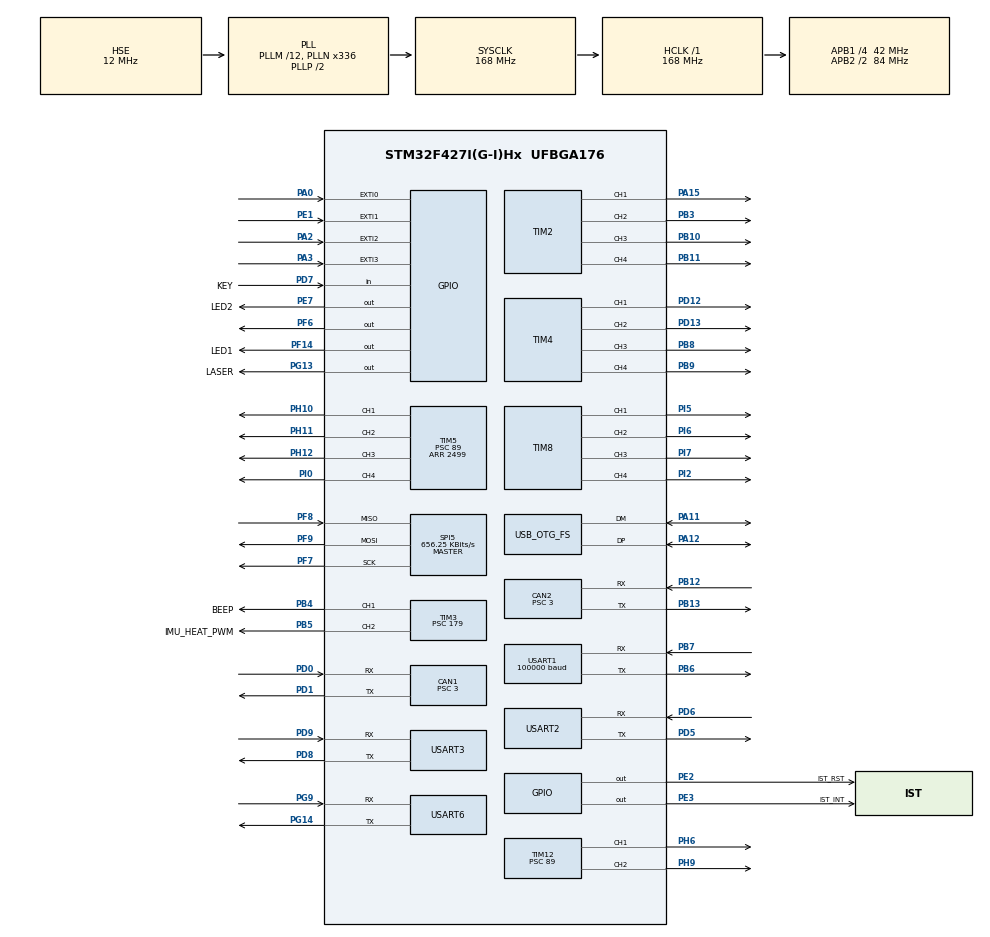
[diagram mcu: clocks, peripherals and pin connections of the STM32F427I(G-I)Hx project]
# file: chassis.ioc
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CAN1.ABOM=ENABLE
CAN1.BS1=CAN_BS1_8TQ
CAN1.BS2=CAN_BS2_5TQ
CAN1.CalculateTimeBit=1000
CAN1.CalculateTimeQuantum=71.42857142857143
CAN1.Prescaler=3
CAN1.SJW=CAN_SJW_1TQ
CAN2.ABOM=ENABLE
CAN2.BS1=CAN_BS1_8TQ
CAN2.BS2=CAN_BS2_5TQ
CAN2.CalculateTimeBit=1000
CAN2.CalculateTimeQuantum=71.42857142857143
CAN2.Prescaler=3
CAN2.SJW=CAN_SJW_4TQ
Dma.Request0=USART2_RX
Dma.Request1=USART3_RX
Dma.Request2=USART6_RX
Dma.Request3=USART1_RX
Dma.USART1_RX.3.Direction=DMA_PERIPH_TO_MEMORY
Dma.USART1_RX.3.FIFOMode=DMA_FIFOMODE_DISABLE
Dma.USART1_RX.3.Instance=DMA2_Stream2
Dma.USART1_RX.3.MemDataAlignment=DMA_MDATAALIGN_BYTE
Dma.USART1_RX.3.MemInc=DMA_MINC_ENABLE
Dma.USART1_RX.3.Mode=DMA_NORMAL
Dma.USART1_RX.3.PeriphDataAlignment=DMA_PDATAALIGN_BYTE
Dma.USART1_RX.3.PeriphInc=DMA_PINC_DISABLE
Dma.USART1_RX.3.Priority=DMA_PRIORITY_LOW
Dma.USART2_RX.0.Direction=DMA_PERIPH_TO_MEMORY
Dma.USART2_RX.0.FIFOMode=DMA_FIFOMODE_DISABLE
Dma.USART2_RX.0.Instance=DMA1_Stream5
Dma.USART2_RX.0.MemDataAlignment=DMA_MDATAALIGN_BYTE
Dma.USART2_RX.0.MemInc=DMA_MINC_ENABLE
Dma.USART2_RX.0.Mode=DMA_NORMAL
Dma.USART2_RX.0.PeriphDataAlignment=DMA_PDATAALIGN_BYTE
Dma.USART2_RX.0.PeriphInc=DMA_PINC_DISABLE
Dma.USART2_RX.0.Priority=DMA_PRIORITY_LOW
Dma.USART3_RX.1.Direction=DMA_PERIPH_TO_MEMORY
Dma.USART3_RX.1.FIFOMode=DMA_FIFOMODE_DISABLE
Dma.USART3_RX.1.Instance=DMA1_Stream1
Dma.USART3_RX.1.MemDataAlignment=DMA_MDATAALIGN_BYTE
Dma.USART3_RX.1.MemInc=DMA_MINC_ENABLE
Dma.USART3_RX.1.Mode=DMA_NORMAL
Dma.USART3_RX.1.PeriphDataAlignment=DMA_PDATAALIGN_BYTE
Dma.USART3_RX.1.PeriphInc=DMA_PINC_DISABLE
Dma.USART3_RX.1.Priority=DMA_PRIORITY_LOW
Dma.USART6_RX.2.Direction=DMA_PERIPH_TO_MEMORY
Dma.USART6_RX.2.FIFOMode=DMA_FIFOMODE_DISABLE
Dma.USART6_RX.2.Instance=DMA2_Stream1
Dma.USART6_RX.2.MemDataAlignment=DMA_MDATAALIGN_BYTE
Dma.USART6_RX.2.MemInc=DMA_MINC_ENABLE
Dma.USART6_RX.2.Mode=DMA_NORMAL
Dma.USART6_RX.2.PeriphDataAlignment=DMA_PDATAALIGN_BYTE
Dma.USART6_RX.2.PeriphInc=DMA_PINC_DISABLE
Dma.USART6_RX.2.Priority=DMA_PRIORITY_LOW
FREERTOS.INCLUDE_vTaskDelayUntil=1
FREERTOS.Tasks01=defaultTask,0,128,StartDefaultTask,Default
FREERTOS.configTOTAL_HEAP_SIZE=153600
Mcu.Family=STM32F4
Mcu.Name=STM32F427I(G-I)Hx
Mcu.Package=UFBGA176
NVIC.CAN1_RX0_IRQn=true\:6\:0\:true\:false\:true\:true
NVIC.CAN1_TX_IRQn=true\:5\:0\:true\:false\:true\:true
NVIC.CAN2_RX1_IRQn=true\:6\:0\:true\:false\:true\:true
NVIC.CAN2_TX_IRQn=true\:5\:0\:false\:false\:true\:true
NVIC.DMA1_Stream1_IRQn=true\:5\:0\:false\:false\:true\:true
NVIC.DMA1_Stream5_IRQn=true\:5\:0\:false\:false\:true\:true
NVIC.DMA2_Stream1_IRQn=true\:5\:0\:false\:false\:true\:true
NVIC.DMA2_Stream2_IRQn=true\:5\:0\:false\:false\:true\:true
NVIC.OTG_FS_IRQn=true\:5\:0\:false\:false\:true\:true
NVIC.PriorityGroup=NVIC_PRIORITYGROUP_4
NVIC.TIM6_DAC_IRQn=true\:0\:0\:false\:false\:true\:false
NVIC.TimeBase=TIM6_DAC_IRQn
NVIC.TimeBaseIP=TIM6
NVIC.USART1_IRQn=true\:5\:0\:false\:false\:true\:true
NVIC.USART2_IRQn=true\:5\:0\:false\:false\:true\:true
NVIC.USART3_IRQn=true\:5\:0\:false\:false\:true\:true
NVIC.USART6_IRQn=true\:5\:0\:false\:false\:true\:true
PA0/WKUP.Signal=GPXTI0
PA11.Mode=Device_Only
PA11.Signal=USB_OTG_FS_DM
PA12.Mode=Device_Only
PA12.Signal=USB_OTG_FS_DP
PA13.Mode=Serial_Wire
PA13.Signal=SYS_JTMS-SWDIO
PA14.Mode=Serial_Wire
PA14.Signal=SYS_JTCK-SWCLK
PA15.Signal=S_TIM2_CH1_ETR
PA2.Signal=GPXTI2
PA3.Signal=GPXTI3
PB10.Signal=S_TIM2_CH3
PB11.Signal=S_TIM2_CH4
PB12.Mode=Slave
PB12.Signal=CAN2_RX
PB13.Mode=Slave
PB13.Signal=CAN2_TX
PB3.Signal=S_TIM2_CH2
PB4.GPIO_Label=BEEP
PB4.Signal=S_TIM3_CH1
PB5.GPIO_Label=IMU_HEAT_PWM
PB5.Signal=S_TIM3_CH2
PB6.Mode=Asynchronous
PB6.Signal=USART1_TX
PB7.Mode=Asynchronous
PB7.Signal=USART1_RX
PB8.Signal=S_TIM4_CH3
PB9.Signal=S_TIM4_CH4
PD0.Mode=Master
PD0.Signal=CAN1_RX
PD1.Mode=Master
PD1.Signal=CAN1_TX
PD12.Signal=S_TIM4_CH1
PD13.Signal=S_TIM4_CH2
PD5.Mode=Asynchronous
PD5.Signal=USART2_TX
PD6.Mode=Asynchronous
PD6.Signal=USART2_RX
PD7.GPIO_Label=KEY
PD7.Signal=GPIO_Input
PD8.Mode=Asynchronous
PD8.Signal=USART3_TX
PD9.Mode=Asynchronous
PD9.Signal=USART3_RX
PE1.GPIO_ModeDefaultEXTI=GPIO_MODE_IT_FALLING
PE1.GPIO_PuPd=GPIO_PULLUP
PE1.Signal=GPXTI1
PE2.GPIO_Label=IST_RST
PE2.PinState=GPIO_PIN_SET
PE2.Signal=GPIO_Output
PE3.GPIO_Label=IST_INT
PE3.Signal=GPIO_Output
PE7.GPIO_Label=LED2
PE7.Signal=GPIO_Output
PF14.GPIO_Label=LED1
PF14.Signal=GPIO_Output
PF6.Signal=GPIO_Output
PF7.Mode=Full_Duplex_Master
PF7.Signal=SPI5_SCK
PF8.Mode=Full_Duplex_Master
PF8.Signal=SPI5_MISO
PF9.Mode=Full_Duplex_Master
PF9.Signal=SPI5_MOSI
PG13.GPIO_Label=LASER
PG13.Signal=GPIO_Output
PG14.Mode=Asynchronous
PG14.Signal=USART6_TX
PG9.Mode=Asynchronous
PG9.Signal=USART6_RX
PH0/OSC_IN.Mode=HSE-External-Oscillator
PH0/OSC_IN.Signal=RCC_OSC_IN
PH1/OSC_OUT.Mode=HSE-External-Oscillator
PH1/OSC_OUT.Signal=RCC_OSC_OUT
PH10.Signal=S_TIM5_CH1
PH11.Signal=S_TIM5_CH2
PH12.Signal=S_TIM5_CH3
PH6.Signal=S_TIM12_CH1
PH9.Signal=S_TIM12_CH2
PI0.Signal=S_TIM5_CH4
PI2.Signal=S_TIM8_CH4
PI5.Signal=S_TIM8_CH1
PI6.Signal=S_TIM8_CH2
PI7.Signal=S_TIM8_CH3
ProjectManager.HeapSize=0x200
ProjectManager.StackSize=0x400
ProjectManager.TargetToolchain=SW4STM32
RCC.48MHZClocksFreq_Value=48000000
RCC.AHBFreq_Value=168000000
RCC.APB1CLKDivider=RCC_HCLK_DIV4
RCC.APB1Freq_Value=42000000
RCC.APB1TimFreq_Value=84000000
RCC.APB2CLKDivider=RCC_HCLK_DIV2
RCC.APB2Freq_Value=84000000
RCC.APB2TimFreq_Value=168000000
RCC.CortexFreq_Value=168000000
RCC.DATA_CACHE_ENABLE=0
RCC.HCLKFreq_Value=168000000
RCC.HSE_VALUE=12000000
RCC.HSI_VALUE=16000000
RCC.LSE_VALUE=32768
RCC.PLLM=12
RCC.PLLN=336
RCC.PLLQ=7
RCC.SYSCLKFreq_VALUE=168000000
RCC.SYSCLKSource=RCC_SYSCLKSOURCE_PLLCLK
RCC.VCOOutputFreq_Value=336000000
SH.S_TIM12_CH1.0=TIM12_CH1,PWM Generation1 CH1
SH.S_TIM12_CH2.0=TIM12_CH2,PWM Generation2 CH2
SH.S_TIM2_CH1_ETR.0=TIM2_CH1,PWM Generation1 CH1
SH.S_TIM2_CH2.0=TIM2_CH2,PWM Generation2 CH2
SH.S_TIM2_CH3.0=TIM2_CH3,PWM Generation3 CH3
SH.S_TIM2_CH4.0=TIM2_CH4,PWM Generation4 CH4
SH.S_TIM3_CH1.0=TIM3_CH1,PWM Generation1 CH1
SH.S_TIM3_CH2.0=TIM3_CH2,PWM Generation2 CH2
SH.S_TIM4_CH1.0=TIM4_CH1,PWM Generation1 CH1
SH.S_TIM4_CH2.0=TIM4_CH2,PWM Generation2 CH2
SH.S_TIM4_CH3.0=TIM4_CH3,PWM Generation3 CH3
SH.S_TIM4_CH4.0=TIM4_CH4,PWM Generation4 CH4
SH.S_TIM5_CH1.0=TIM5_CH1,PWM Generation1 CH1
SH.S_TIM5_CH2.0=TIM5_CH2,PWM Generation2 CH2
SH.S_TIM5_CH3.0=TIM5_CH3,PWM Generation3 CH3
SH.S_TIM5_CH4.0=TIM5_CH4,PWM Generation4 CH4
SH.S_TIM8_CH1.0=TIM8_CH1,PWM Generation1 CH1
SH.S_TIM8_CH2.0=TIM8_CH2,PWM Generation2 CH2
SH.S_TIM8_CH3.0=TIM8_CH3,PWM Generation3 CH3
SH.S_TIM8_CH4.0=TIM8_CH4,PWM Generation4 CH4
SPI5.BaudRatePrescaler=SPI_BAUDRATEPRESCALER_128
SPI5.CalculateBaudRate=656.25 KBits/s
SPI5.Direction=SPI_DIRECTION_2LINES
SPI5.Mode=SPI_MODE_MASTER
SPI5.VirtualType=VM_MASTER
TIM12.Channel-PWM\ Generation1\ CH1=TIM_CHANNEL_1
TIM12.Channel-PWM\ Generation2\ CH2=TIM_CHANNEL_2
TIM12.Period=2499
TIM12.Prescaler=89
TIM12.Pulse-PWM\ Generation1\ CH1=1000
TIM12.Pulse-PWM\ Generation2\ CH2=1000
TIM2.Channel-PWM\ Generation1\ CH1=TIM_CHANNEL_1
TIM2.Channel-PWM\ Generation2\ CH2=TIM_CHANNEL_2
TIM2.Channel-PWM\ Generation3\ CH3=TIM_CHANNEL_3
TIM2.Channel-PWM\ Generation4\ CH4=TIM_CHANNEL_4
TIM3.Channel-PWM\ Generation1\ CH1=TIM_CHANNEL_1
TIM3.Channel-PWM\ Generation2\ CH2=TIM_CHANNEL_2
TIM3.Prescaler=179
TIM4.Channel-PWM\ Generation1\ CH1=TIM_CHANNEL_1
TIM4.Channel-PWM\ Generation2\ CH2=TIM_CHANNEL_2
TIM4.Channel-PWM\ Generation3\ CH3=TIM_CHANNEL_3
TIM4.Channel-PWM\ Generation4\ CH4=TIM_CHANNEL_4
TIM5.Channel-PWM\ Generation1\ CH1=TIM_CHANNEL_1
TIM5.Channel-PWM\ Generation2\ CH2=TIM_CHANNEL_2
TIM5.Channel-PWM\ Generation3\ CH3=TIM_CHANNEL_3
TIM5.Channel-PWM\ Generation4\ CH4=TIM_CHANNEL_4
TIM5.Period=2499
TIM5.Prescaler=89
TIM5.Pulse-PWM\ Generation1\ CH1=1000
TIM5.Pulse-PWM\ Generation2\ CH2=1000
TIM8.Channel-PWM\ Generation1\ CH1=TIM_CHANNEL_1
TIM8.Channel-PWM\ Generation2\ CH2=TIM_CHANNEL_2
TIM8.Channel-PWM\ Generation3\ CH3=TIM_CHANNEL_3
TIM8.Channel-PWM\ Generation4\ CH4=TIM_CHANNEL_4
USART1.BaudRate=100000
USART1.Parity=PARITY_EVEN
USART1.VirtualMode=VM_ASYNC
USART2.VirtualMode=VM_ASYNC
USART3.VirtualMode=VM_ASYNC
USART6.VirtualMode=VM_ASYNC
USB_DEVICE.CLASS_NAME_FS=CDC
USB_DEVICE.MANUFACTURER_STRING-CDC_FS=UAVLab
USB_DEVICE.PRODUCT_STRING_CDC_FS=BRover
USB_DEVICE.USBD_MAX_STR_DESC_SIZ-CDC_FS=256
USB_DEVICE.USBD_SUPPORT_USER_STRING-CDC_FS=0
USB_DEVICE.VirtualModeFS=Cdc_FS
USB_OTG_FS.VirtualMode=Device_Only
USB_OTG_FS.vbus_sensing_enable=DISABLE
VP_FREERTOS_VS_ENABLE.Mode=Enabled
VP_RTC_VS_RTC_Activate.Mode=RTC_Enabled
VP_SYS_VS_tim6.Mode=TIM6
VP_USB_DEVICE_VS_USB_DEVICE_CDC_FS.Mode=CDC_FS
board=chassis

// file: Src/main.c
/**
  ******************************************************************************
  * File Name          : main.c
  * Description        : Main program body
  ******************************************************************************
  * This notice applies to any and all portions of this file
  * that are not between comment pairs USER CODE BEGIN and
  * USER CODE END. Other portions of this file, whether
  * inserted by the user or by software development tools
  * are owned by their respective copyright owners.
  *
  * Copyright (c) 2017 STMicroelectronics International N.V.
  * All rights reserved.
  *
  * Redistribution and use in source and binary forms, with or without
  * modification, are permitted, provided that the following conditions are met:
  *
  * 1. Redistribution of source code must retain the above copyright notice,
  *    this list of conditions and the following disclaimer.
  * 2. Redistributions in binary form must reproduce the above copyright notice,
  *    this list of conditions and the following disclaimer in the documentation
  *    and/or other materials provided with the distribution.
  * 3. Neither the name of STMicroelectronics nor the names of other
  *    contributors to this software may be used to endorse or promote products
  *    derived from this software without specific written permission.
  * 4. This software, including modifications and/or derivative works of this
  *    software, must execute solely and exclusively on microcontroller or
  *    microprocessor devices manufactured by or for STMicroelectronics.
  * 5. Redistribution and use of this software other than as permitted under
  *    this license is void and will automatically terminate your rights under
  *    this license.
  *
  * THIS SOFTWARE IS PROVIDED BY STMICROELECTRONICS AND CONTRIBUTORS "AS IS"
  * AND ANY EXPRESS, IMPLIED OR STATUTORY WARRANTIES, INCLUDING, BUT NOT
  * LIMITED TO, THE IMPLIED WARRANTIES OF MERCHANTABILITY, FITNESS FOR A
  * PARTICULAR PURPOSE AND NON-INFRINGEMENT OF THIRD PARTY INTELLECTUAL PROPERTY
  * RIGHTS ARE DISCLAIMED TO THE FULLEST EXTENT PERMITTED BY LAW. IN NO EVENT
  * SHALL STMICROELECTRONICS OR CONTRIBUTORS BE LIABLE FOR ANY DIRECT, INDIRECT,
  * INCIDENTAL, SPECIAL, EXEMPLARY, OR CONSEQUENTIAL DAMAGES (INCLUDING, BUT NOT
  * LIMITED TO, PROCUREMENT OF SUBSTITUTE GOODS OR SERVICES; LOSS OF USE, DATA,
  * OR PROFITS; OR BUSINESS INTERRUPTION) HOWEVER CAUSED AND ON ANY THEORY OF
  * LIABILITY, WHETHER IN CONTRACT, STRICT LIABILITY, OR TORT (INCLUDING
  * NEGLIGENCE OR OTHERWISE) ARISING IN ANY WAY OUT OF THE USE OF THIS SOFTWARE,
  * EVEN IF ADVISED OF THE POSSIBILITY OF SUCH DAMAGE.
  *
  ******************************************************************************
  */
#include "main.h"
#include "stm32f4xx_hal.h"
#include "cmsis_os.h"
#include "can.h"
#include "dma.h"
#include "rtc.h"
#include "spi.h"
#include "tim.h"
#include "usart.h"
#include "usb_device.h"
#include "gpio.h"

/* USER CODE BEGIN PV */
/* Private variables ---------------------------------------------------------*/

/* USER CODE END PV */

void SystemClock_Config(void);
void MX_FREERTOS_Init(void);

/* USER CODE BEGIN PFP */
/* Private function prototypes -----------------------------------------------*/

/* USER CODE END PFP */

int main(void)
{

  /* MCU Configuration----------------------------------------------------------*/

  /* Reset of all peripherals, Initializes the Flash interface and the Systick. */
  HAL_Init();

  /* Configure the system clock */
  SystemClock_Config();

  /* Initialize all configured peripherals */
  MX_GPIO_Init();
  MX_DMA_Init();
  MX_CAN1_Init();
  MX_USART1_UART_Init();
  MX_SPI5_Init();
  MX_USART3_UART_Init();
  MX_USART6_UART_Init();
  MX_CAN2_Init();
  MX_TIM5_Init();
  MX_TIM2_Init();
  MX_TIM3_Init();
  MX_TIM4_Init();
  MX_TIM8_Init();
  MX_TIM12_Init();
  MX_USART2_UART_Init();
  MX_RTC_Init();

  /* Call init function for freertos objects (in freertos.c) */
  MX_FREERTOS_Init();

  /* Start scheduler */
  osKernelStart();

  /* We should never get here as control is now taken by the scheduler */

  /* Infinite loop */
  while (1)
  {

  }

}

/** System Clock Configuration
*/
void SystemClock_Config(void)
{

  RCC_OscInitTypeDef RCC_OscInitStruct;
  RCC_ClkInitTypeDef RCC_ClkInitStruct;
  RCC_PeriphCLKInitTypeDef PeriphClkInitStruct;

    /**Configure the main internal regulator output voltage
    */
  __HAL_RCC_PWR_CLK_ENABLE();

  __HAL_PWR_VOLTAGESCALING_CONFIG(PWR_REGULATOR_VOLTAGE_SCALE1);

    /**Initializes the CPU, AHB and APB busses clocks
    */
  RCC_OscInitStruct.OscillatorType = RCC_OSCILLATORTYPE_LSI|RCC_OSCILLATORTYPE_HSE;
  RCC_OscInitStruct.HSEState = RCC_HSE_ON;
  RCC_OscInitStruct.LSIState = RCC_LSI_ON;
  RCC_OscInitStruct.PLL.PLLState = RCC_PLL_ON;
  RCC_OscInitStruct.PLL.PLLSource = RCC_PLLSOURCE_HSE;
  RCC_OscInitStruct.PLL.PLLM = 12;
  RCC_OscInitStruct.PLL.PLLN = 336;
  RCC_OscInitStruct.PLL.PLLP = RCC_PLLP_DIV2;
  RCC_OscInitStruct.PLL.PLLQ = 7;
  if (HAL_RCC_OscConfig(&RCC_OscInitStruct) != HAL_OK)
  {
    _Error_Handler(__FILE__, __LINE__);
  }

    /**Initializes the CPU, AHB and APB busses clocks
    */
  RCC_ClkInitStruct.ClockType = RCC_CLOCKTYPE_HCLK|RCC_CLOCKTYPE_SYSCLK
                              |RCC_CLOCKTYPE_PCLK1|RCC_CLOCKTYPE_PCLK2;
  RCC_ClkInitStruct.SYSCLKSource = RCC_SYSCLKSOURCE_PLLCLK;
  RCC_ClkInitStruct.AHBCLKDivider = RCC_SYSCLK_DIV1;
  RCC_ClkInitStruct.APB1CLKDivider = RCC_HCLK_DIV4;
  RCC_ClkInitStruct.APB2CLKDivider = RCC_HCLK_DIV2;

  if (HAL_RCC_ClockConfig(&RCC_ClkInitStruct, FLASH_LATENCY_5) != HAL_OK)
  {
    _Error_Handler(__FILE__, __LINE__);
  }

  PeriphClkInitStruct.PeriphClockSelection = RCC_PERIPHCLK_RTC;
  PeriphClkInitStruct.RTCClockSelection = RCC_RTCCLKSOURCE_LSI;
  if (HAL_RCCEx_PeriphCLKConfig(&PeriphClkInitStruct) != HAL_OK)
  {
    _Error_Handler(__FILE__, __LINE__);
  }

    /**Configure the Systick interrupt time
    */
  HAL_SYSTICK_Config(HAL_RCC_GetHCLKFreq()/1000);

    /**Configure the Systick
    */
  HAL_SYSTICK_CLKSourceConfig(SYSTICK_CLKSOURCE_HCLK);

  /* SysTick_IRQn interrupt configuration */
  HAL_NVIC_SetPriority(SysTick_IRQn, 15, 0);
}

void HAL_TIM_PeriodElapsedCallback(TIM_HandleTypeDef *htim)
{
  if (htim->Instance == TIM6) {
    HAL_IncTick();
  }
}

void _Error_Handler(char * file, int line)
{
  while(1)
  {
  }
}

/************************ (C) COPYRIGHT STMicroelectronics *****END OF FILE****/

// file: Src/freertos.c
/**
  ******************************************************************************
  * File Name          : freertos.c
  * Description        : Code for freertos applications
  ******************************************************************************
  * This notice applies to any and all portions of this file
  * that are not between comment pairs USER CODE BEGIN and
  * USER CODE END. Other portions of this file, whether
  * inserted by the user or by software development tools
  * are owned by their respective copyright owners.
  *
  * Copyright (c) 2017 STMicroelectronics International N.V.
  * All rights reserved.
  *
  * Redistribution and use in source and binary forms, with or without
  * modification, are permitted, provided that the following conditions are met:
  *
  * 1. Redistribution of source code must retain the above copyright notice,
  *    this list of conditions and the following disclaimer.
  * 2. Redistributions in binary form must reproduce the above copyright notice,
  *    this list of conditions and the following disclaimer in the documentation
  *    and/or other materials provided with the distribution.
  * 3. Neither the name of STMicroelectronics nor the names of other
  *    contributors to this software may be used to endorse or promote products
  *    derived from this software without specific written permission.
  * 4. This software, including modifications and/or derivative works of this
  *    software, must execute solely and exclusively on microcontroller or
  *    microprocessor devices manufactured by or for STMicroelectronics.
  * 5. Redistribution and use of this software other than as permitted under
  *    this license is void and will automatically terminate your rights under
  *    this license.
  *
  * THIS SOFTWARE IS PROVIDED BY STMICROELECTRONICS AND CONTRIBUTORS "AS IS"
  * AND ANY EXPRESS, IMPLIED OR STATUTORY WARRANTIES, INCLUDING, BUT NOT
  * LIMITED TO, THE IMPLIED WARRANTIES OF MERCHANTABILITY, FITNESS FOR A
  * PARTICULAR PURPOSE AND NON-INFRINGEMENT OF THIRD PARTY INTELLECTUAL PROPERTY
  * RIGHTS ARE DISCLAIMED TO THE FULLEST EXTENT PERMITTED BY LAW. IN NO EVENT
  * SHALL STMICROELECTRONICS OR CONTRIBUTORS BE LIABLE FOR ANY DIRECT, INDIRECT,
  * INCIDENTAL, SPECIAL, EXEMPLARY, OR CONSEQUENTIAL DAMAGES (INCLUDING, BUT NOT
  * LIMITED TO, PROCUREMENT OF SUBSTITUTE GOODS OR SERVICES; LOSS OF USE, DATA,
  * OR PROFITS; OR BUSINESS INTERRUPTION) HOWEVER CAUSED AND ON ANY THEORY OF
  * LIABILITY, WHETHER IN CONTRACT, STRICT LIABILITY, OR TORT (INCLUDING
  * NEGLIGENCE OR OTHERWISE) ARISING IN ANY WAY OUT OF THE USE OF THIS SOFTWARE,
  * EVEN IF ADVISED OF THE POSSIBILITY OF SUCH DAMAGE.
  *
  ******************************************************************************
  */

#include "FreeRTOS.h"
#include "task.h"
#include "cmsis_os.h"

/* USER CODE BEGIN Includes */
#include "usbd_cdc_if.h"
#include "bsp/beeper.h"
#include "bsp/serial.h"
#include "bsp/sbus.h"
#include "bsp/hptimer.h"
#include "bsp/imu.h"
#include "bsp/gimbal.h"
#include "bsp/chassis.h"
#include "bsp/bsp_can.h"
/* USER CODE END Includes */

osThreadId defaultTaskHandle;

/* USER CODE BEGIN Variables */
extern int32_t rust_main(int32_t _argc, char** _argv);
extern osThreadId beepTaskHandle;
extern osThreadId serialTaskHandle;
extern osThreadId sbusTaskHandle;
extern osThreadId imuTaskHandle;
extern osThreadId gimbalTaskHandle;
extern osThreadId chassisTaskHandle;
extern osThreadId canTaskHandle;

extern int messageCount;
/* USER CODE END Variables */

void StartDefaultTask(void const * argument);

extern void MX_USB_DEVICE_Init(void);
void MX_FREERTOS_Init(void); /* (MISRA C 2004 rule 8.1) */

/* Hook prototypes */

/* Init FreeRTOS */

void MX_FREERTOS_Init(void) {

  /* Create the thread(s) */
  /* definition and creation of defaultTask */
  osThreadDef(defaultTask, StartDefaultTask, osPriorityNormal, 0, 128);
  defaultTaskHandle = osThreadCreate(osThread(defaultTask), NULL);

  /* USER CODE BEGIN RTOS_THREADS */
  osThreadDef(beepTask, StartBeepTask, osPriorityNormal, 0, 128);
  beepTaskHandle = osThreadCreate(osThread(beepTask), NULL);

  osThreadDef(serialTask, StartSerialTask, osPriorityNormal, 0, 4096);
  serialTaskHandle = osThreadCreate(osThread(serialTask), NULL);

  osThreadDef(sbusTask, StartSBUSTask, osPriorityNormal, 0, 256);
  sbusTaskHandle = osThreadCreate(osThread(sbusTask), NULL);

  osThreadDef(imuTask, StartIMUTask, osPriorityHigh, 0, 512);
  imuTaskHandle = osThreadCreate(osThread(imuTask), NULL);

  osThreadDef(canTask, StartCANBusTask, osPriorityHigh, 0, 512);
  canTaskHandle = osThreadCreate(osThread(canTask), NULL);

  osThreadDef(gimbalTask, StartGimbalTask, osPriorityAboveNormal, 0, 512);
  gimbalTaskHandle = osThreadCreate(osThread(gimbalTask), NULL);

  osThreadDef(chassisTask, StartChassisTask, osPriorityAboveNormal, 0, 512);
  chassisTaskHandle = osThreadCreate(osThread(chassisTask), NULL);

  /* USER CODE END RTOS_THREADS */

}

/* StartDefaultTask function */
void StartDefaultTask(void const * argument)
{
  /* init code for USB_DEVICE */
  MX_USB_DEVICE_Init();

  /* USER CODE BEGIN StartDefaultTask */
  // Enable CYCCNT High Resolution Timer
  CoreDebug->DEMCR |= CoreDebug_DEMCR_TRCENA_Msk;
  DWT->CYCCNT = 0;
  DWT->CTRL |= DWT_CTRL_CYCCNTENA_Msk;

  /* Infinite loop */
  for(;;)
  {
    rust_main(0, NULL);
    GetCycleCount64();
    osDelay(500);
  }
  /* USER CODE END StartDefaultTask */
}

/************************ (C) COPYRIGHT STMicroelectronics *****END OF FILE****/
